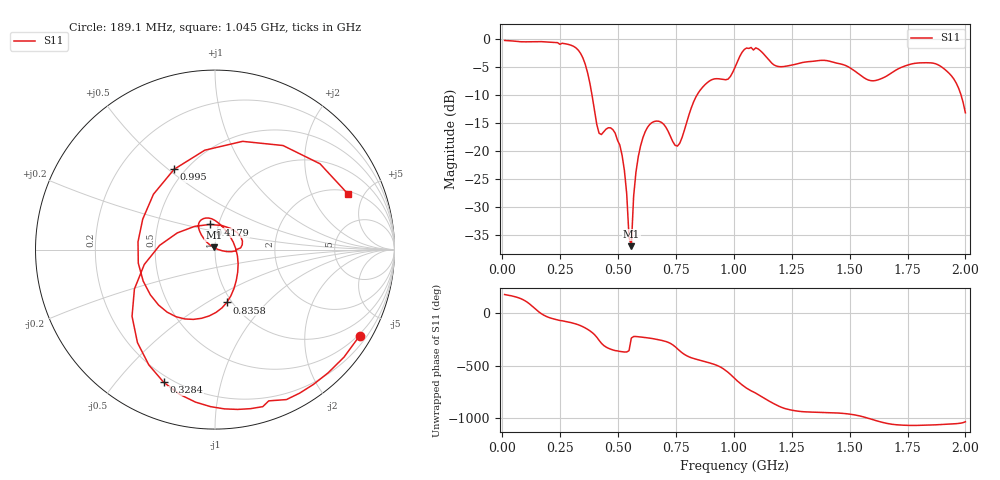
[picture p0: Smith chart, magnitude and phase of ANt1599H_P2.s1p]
!Created with skrf (http://scikit-rf.org).
# Hz S RI R 50.0
!freq ReS11 ImS11
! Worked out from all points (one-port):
!   201 points, 10 MHz to 2 GHz, reference 50 ohm
!   lowest |S11| = -37.1 dB at 557.2 MHz (marker M1), VSWR 1.03, Z = 49.2 + j1.16 ohm
!   |S11| at or under -10 dB: 387.3 MHz to 841.6 MHz (454.4 MHz wide, 73.9 % of centre); 1.981 GHz to end of sweep
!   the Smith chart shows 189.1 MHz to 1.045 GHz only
!   S11 on the Smith chart (normalised r, x): 189.1 MHz: 0.45, -3.59; 328.4 MHz: 0.17, -0.67; 417.9 MHz: 0.91, +0.26; 835.9 MHz: 0.95, -0.61; 995 MHz: 0.44, +0.52; 1.045 GHz: 2.17, +3.79
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1e7  -0.9664 0.0666
7.965e7  -0.6927 0.6403
1.1945e8  0.1007 0.9367
1.493e8  0.8442 0.4218
1.891e8  0.8069 -0.479
2.5875e8  0.2662 -0.875
3.284e8  -0.2864 -0.7388
3.682e8  -0.449 -0.2197
4.1795e8  -0.0288 0.1403
5.075e8  0.1121 -0.00799
5.5725e8  -0.00749 0.0118
5.7715e8  -0.0473 0.0431
6.1695e8  -0.0903 0.1167
7.5625e8  0.1024 0.0402
8.3585e8  0.0659 -0.2943
9.254e8  -0.3141 -0.3094
9.652e8  -0.429 0.0435
9.9505e8  -0.2282 0.4472
1.005e9  -0.0568 0.5539
1.0448e9  0.7403 0.3104
1.07465e9  0.7939 -0.2685
1.1244e9  0.1345 -0.7378
1.17415e9  -0.4598 -0.3598
1.25375e9  -0.5362 0.2337
1.5025e9  -0.2724 0.4779
1.75125e9  0.5679 0.1362
1.91045e9  0.4904 0.2135
2e9  0.1465 0.1618
